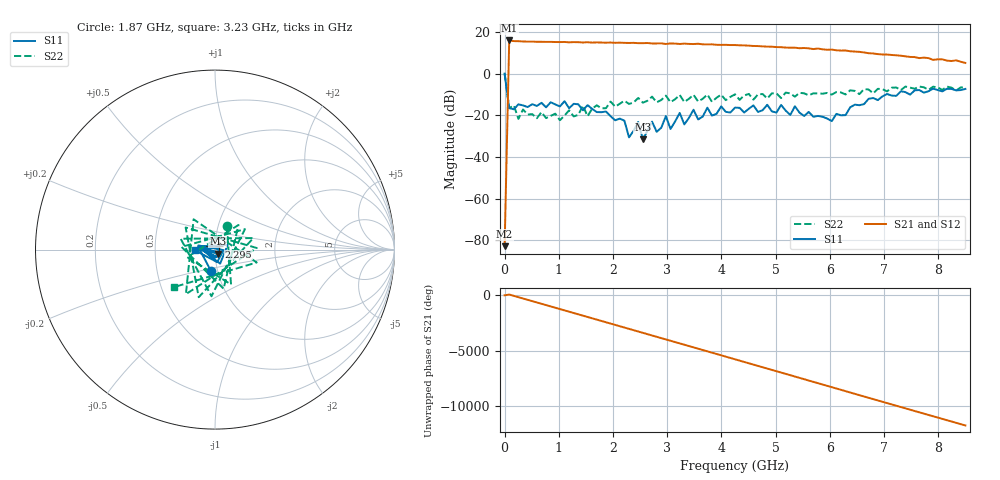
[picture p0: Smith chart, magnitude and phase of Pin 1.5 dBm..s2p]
! RsaToolbox (C) 2013 Rohde & Schwarz America
! Number of points: 101
! Number of ports: 2
! Balanced ports?: 0
# Hz S RI R 50
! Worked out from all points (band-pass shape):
!   101 points, 9 kHz to 8.5 GHz, reference 50 ohm
!   highest |S21| = 15.90 dB at 85.01 MHz (marker M1); lowest = -82.8 dB at 9 kHz (marker M2)
!   |S21| within 3 dB of the highest: 82.42 MHz to 4.927 GHz (4.845 GHz wide, 193 % of centre)
!   lowest |S11| = -31.5 dB at 2.55 GHz (marker M3), VSWR 1.05, Z = 51.5 - j2.25 ohm
!   |S11| at or under -10 dB: 51.21 MHz to 7.039 GHz (6.988 GHz wide, 197 % of centre); 7.079 GHz to 7.251 GHz (171.6 MHz wide, 2.39 % of centre); 7.472019 GHz to 7.484761 GHz (12.74 MHz wide, 0.17 % of centre)
!   |S22| runs from -22.4 to 0.1 dB; largest |S21 - S12| = 0
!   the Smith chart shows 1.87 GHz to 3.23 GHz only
!   S11 on the Smith chart (normalised r, x): 1.87 GHz: 0.93, -0.23; 2.295 GHz: 1.05, +0.04; 3.23 GHz: 0.80, -0.00
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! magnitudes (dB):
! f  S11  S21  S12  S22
! 9 kHz  0.0  -82.8  -82.8  0.1
! 85.01 MHz  -16.6  15.9  15.9  -16.6
! 1.02 GHz  -15.8  15.1  15.1  -22.4
! 1.445 GHz  -17.6  14.9  14.9  -15.3
! 1.53 GHz  -15.1  15.1  15.1  -20.4
! 1.87 GHz  -18.2  14.8  14.8  -16.6
! 2.21 GHz  -22.6  14.7  14.7  -13.0
! 2.295 GHz  -30.6  14.7  14.7  -14.6
! 2.465 GHz  -23.2  14.6  14.6  -11.7
! 2.55 GHz  -31.5  14.6  14.6  -14.0
! 2.72 GHz  -23.0  14.5  14.5  -11.1
! 2.89 GHz  -26.0  14.5  14.5  -12.7
! 3.23 GHz  -18.8  14.2  14.2  -10.2
! 3.315 GHz  -24.4  14.4  14.4  -13.6
! 3.485 GHz  -17.3  14.2  14.2  -10.2
! 3.57 GHz  -22.0  14.3  14.3  -13.4
! 3.74 GHz  -16.3  14.0  14.0  -10.0
! 4.25 GHz  -16.3  13.7  13.7  -9.9
! 5.695 GHz  -20.7  11.8  11.8  -9.5
! 6.035 GHz  -22.8  11.5  11.5  -10.0
! 7.14 GHz  -10.5  8.9  8.9  -6.8
! 8.5 GHz  -7.3  5.1  5.1  -6.7
